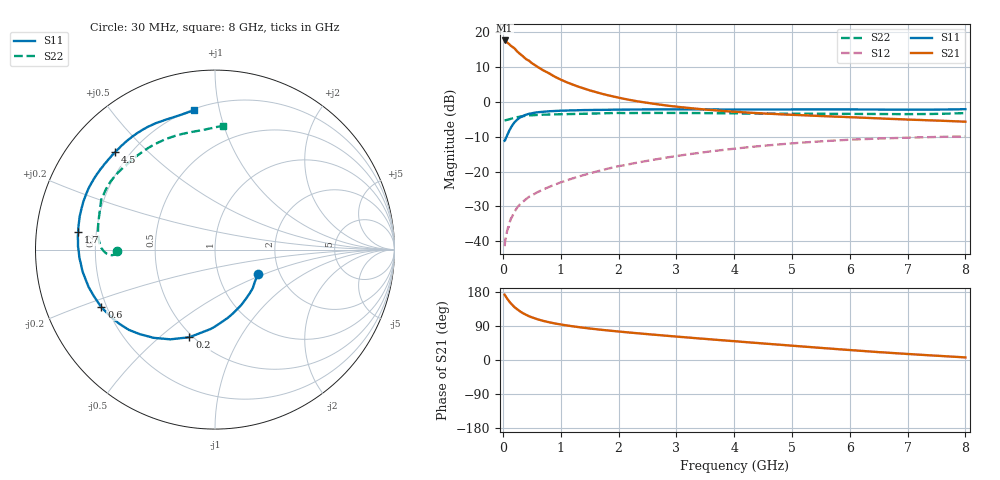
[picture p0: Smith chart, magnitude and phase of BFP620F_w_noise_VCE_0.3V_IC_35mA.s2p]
! Infineon Technologies  Discrete & RF Semiconductors
! BFP620F
! VCE =  0.3 V,  IC =  35 mA
! Common Emitter S-Parameters:  Dec 2014
# GHz  S  MA  R  50
!  f  S11  S21  S12  S22
! GHz  MAG  ANG  MAG  ANG  MAG  ANG  MAG  ANG
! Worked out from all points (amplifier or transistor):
!   95 points, 30 MHz to 8 GHz, reference 50 ohm
!   highest |S21| = 17.6 dB at 30 MHz (marker M1)
!   |S21| within 3 dB of that: start of sweep to 239.5 MHz
!   unconditionally stable (mu >= 1): start of sweep to end of sweep
!   at 300 MHz: K = 1.49, MAG = 17.4 dB, |S12| = -29.3 dB
!   at 3.3 GHz: K = 1.30, MAG = 3.2 dB, |S12| = -14.8 dB
!   at 8 GHz: K = 1.22, MAG = -0.7 dB, |S12| = -9.9 dB
!   lowest NFmin = 1.25 dB at 450 MHz
!   S11 on the Smith chart (normalised r, x): 30 MHz: 1.55, -0.46; 200 MHz: 0.48, -0.63; 600 MHz: 0.18, -0.23; 1.7 GHz: 0.13, +0.06; 4.5 GHz: 0.15, +0.40; 8 GHz: 0.21, +0.84
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0.03  0.2777 -29.6  7.621 172.4  0.0085 31.0  0.546 -179.1
0.04  0.2837 -37.9  7.308 170.0  0.0101 37.9  0.546 -178.6
0.05  0.3005 -45.5  7.467 167.6  0.0114 37.6  0.546 -178.2
0.08  0.3403 -64.1  7.057 160.6  0.0146 48.1  0.5542 -177.6
0.11  0.3859 -79.1  6.751 154.5  0.0172 52.2  0.5631 -177.0
0.14  0.4296 -90.2  6.37 149.1  0.0213 53.9  0.5725 -176.9
0.2  0.5088 -106.3  5.884 139.6  0.0264 53.3  0.5901 -177.2
0.25  0.5586 -116.5  5.273 133.6  0.0307 53.4  0.6043 -177.9
0.3  0.5987 -124.8  4.85 128.0  0.0342 52.6  0.6151 -178.7
0.4  0.656 -137.0  4.117 119.4  0.0402 52.2  0.6332 179.2
0.5  0.6875 -146.1  3.608 112.7  0.0455 52.2  0.643 177.1
0.6  0.7102 -153.1  3.183 107.5  0.0507 53.0  0.6503 175.1
0.7  0.7225 -158.8  2.833 103.1  0.0553 53.6  0.6557 173.2
0.9  0.7406 -167.4  2.293 96.5  0.065 54.8  0.6621 169.7
1.4  0.7634 178.7  1.561 85.0  0.0893 55.7  0.6758 162.1
1.7  0.7686 172.6  1.318 79.8  0.1041 55.1  0.6854 158.4
2.7  0.7813 157.5  0.918 65.7  0.1524 50.3  0.6943 149.4
4.1  0.7775 140.0  0.714 48.4  0.2172 39.8  0.6833 136.2
4.5  0.7774 135.5  0.683 43.6  0.2343 36.3  0.6802 131.6
5.4  0.7805 125.9  0.632 33.1  0.2682 28.1  0.6768 120.7
6.7  0.7745 111.9  0.571 18.9  0.3013 16.1  0.6689 104.3
8  0.7867 98.5  0.52 6.7  0.319 5.3  0.6913 86.5
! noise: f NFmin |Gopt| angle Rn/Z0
0.45  1.25  0.11  -173  0.16
0.9  1.28  0.11  -172  0.13
1.5  1.29  0.16  -150  0.12
1.8  1.3  0.16  -150  0.13
1.9  1.3  0.16  -149  0.13
2.4  1.32  0.17  215  0.15
3.5  1.38  0.18  220  0.18
5.5  1.52  0.24  245  0.15
6  1.56  0.25  260  0.17
